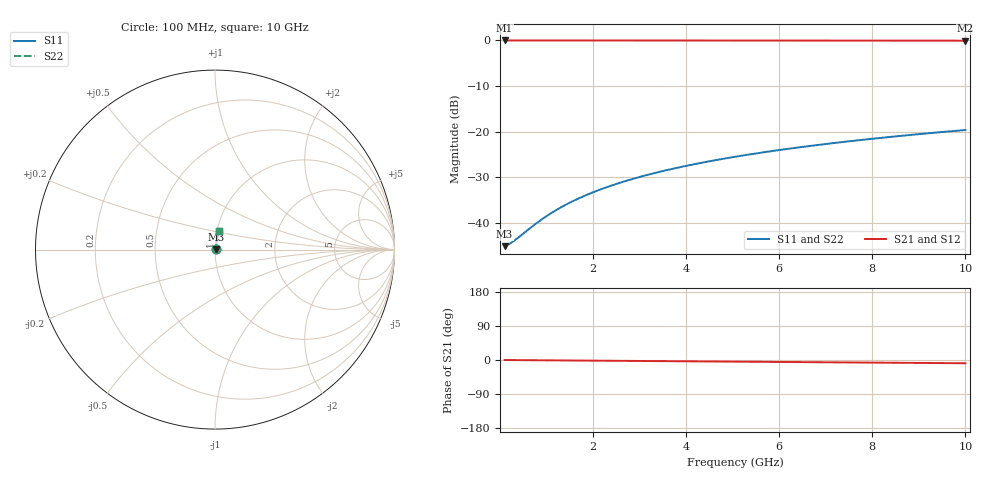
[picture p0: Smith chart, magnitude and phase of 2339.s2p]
# Hz S RI R 50.00
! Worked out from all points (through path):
!   100 points, 100 MHz to 10 GHz, reference 50 ohm
!   highest |S21| = -0.05 dB at 100 MHz (marker M1); lowest = -0.1 dB at 10 GHz (marker M2)
!   group delay of S21, straight-line fit = 2.39 ps
!   lowest |S11| = -45.1 dB at 100 MHz (marker M3), VSWR 1.01, Z = 50.5 + j0.105 ohm
!   |S11| at or under -10 dB: start of sweep to end of sweep
!   |S22| runs from -45.1 to -19.7 dB; largest |S21 - S12| = 0
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1e8  0.00546 0.00104  0.9945 -0.00149  0.9945 -0.00149  0.00546 0.00104
2e8  0.00551 0.00207  0.9945 -0.00299  0.9945 -0.00299  0.00551 0.00207
3e8  0.00554 0.00311  0.9945 -0.00448  0.9945 -0.00448  0.00554 0.00311
8e8  0.00571 0.00828  0.9943 -0.0119  0.9943 -0.0119  0.00571 0.00828
9e8  0.00575 0.00931  0.9942 -0.0134  0.9942 -0.0134  0.00575 0.00931
1.1e9  0.00583 0.0114  0.9942 -0.0164  0.9942 -0.0164  0.00583 0.0114
1.4e9  0.00597 0.0145  0.994 -0.0209  0.994 -0.0209  0.00597 0.0145
1.6e9  0.00608 0.0165  0.9939 -0.0239  0.9939 -0.0239  0.00608 0.0165
1.8e9  0.00621 0.0186  0.9938 -0.0269  0.9938 -0.0269  0.00621 0.0186
2.1e9  0.00641 0.0217  0.9935 -0.0313  0.9935 -0.0313  0.00641 0.0217
2.5e9  0.00672 0.0258  0.9932 -0.0373  0.9932 -0.0373  0.00672 0.0258
2.9e9  0.00708 0.03  0.9928 -0.0433  0.9928 -0.0433  0.00708 0.03
3.4e9  0.00759 0.0351  0.9923 -0.0507  0.9923 -0.0507  0.00759 0.0351
3.8e9  0.00806 0.0392  0.9918 -0.0567  0.9918 -0.0567  0.00806 0.0392
4.2e9  0.00858 0.0433  0.9912 -0.0626  0.9912 -0.0626  0.00858 0.0433
4.6e9  0.00914 0.0474  0.9906 -0.0685  0.9906 -0.0685  0.00914 0.0474
5.1e9  0.00991 0.0525  0.9898 -0.0759  0.9898 -0.0759  0.00991 0.0525
5.9e9  0.0113 0.0607  0.9883 -0.0878  0.9883 -0.0878  0.0113 0.0607
6.7e9  0.0129 0.0688  0.9866 -0.0996  0.9866 -0.0996  0.0129 0.0688
7.5e9  0.0147 0.0768  0.9847 -0.1113  0.9847 -0.1113  0.0147 0.0768
8.4e9  0.0169 0.0859  0.9823 -0.1245  0.9823 -0.1245  0.0169 0.0859
1e10  0.0215 0.1017  0.9774 -0.1478  0.9774 -0.1478  0.0215 0.1017
